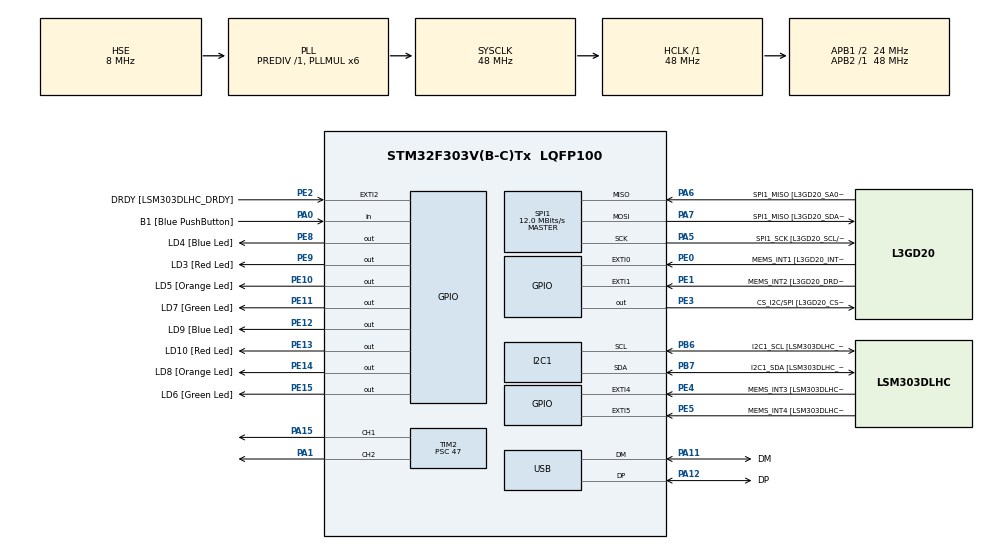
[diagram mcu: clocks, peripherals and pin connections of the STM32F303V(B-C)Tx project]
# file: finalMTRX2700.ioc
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I2C1.Timing=0x00201D2B
I2C1.Timing-I2C=0x2000090E
Mcu.Family=STM32F3
Mcu.Name=STM32F303V(B-C)Tx
Mcu.Package=LQFP100
NVIC.PriorityGroup=NVIC_PRIORITYGROUP_0
PA0.GPIO_Label=B1 [Blue PushButton]
PA0.Signal=GPIO_Input
PA1.Signal=S_TIM2_CH2
PA11.GPIO_Label=DM
PA11.Mode=Device
PA11.Signal=USB_DM
PA12.GPIO_Label=DP
PA12.Mode=Device
PA12.Signal=USB_DP
PA13.GPIO_Label=SWDIO
PA13.Mode=Serial_Wire
PA13.Signal=SYS_JTMS-SWDIO
PA14.GPIO_Label=SWCLK
PA14.Mode=Serial_Wire
PA14.Signal=SYS_JTCK-SWCLK
PA15.Signal=S_TIM2_CH1_ETR
PA5.GPIO_Label=SPI1_SCK [L3GD20_SCL/SPC]
PA5.Mode=Full_Duplex_Master
PA5.Signal=SPI1_SCK
PA6.GPIO_Label=SPI1_MISO [L3GD20_SA0/SDO]
PA6.Mode=Full_Duplex_Master
PA6.Signal=SPI1_MISO
PA7.GPIO_Label=SPI1_MISO [L3GD20_SDA/SDI/SDO]
PA7.Mode=Full_Duplex_Master
PA7.Signal=SPI1_MOSI
PB3.GPIO_Label=SWO
PB3.Signal=SYS_JTDO-TRACESWO
PB6.GPIO_Label=I2C1_SCL [LSM303DLHC_SCL]
PB6.GPIO_Pu=GPIO_PULLUP
PB6.Mode=I2C
PB6.Signal=I2C1_SCL
PB7.GPIO_Label=I2C1_SDA [LSM303DLHC_SDA]
PB7.GPIO_Pu=GPIO_PULLUP
PB7.Mode=I2C
PB7.Signal=I2C1_SDA
PC14-OSC32_IN.GPIO_Label=OSC32_IN
PC14-OSC32_IN.Signal=RCC_OSC32_IN
PC15-OSC32_OUT.GPIO_Label=OSC32_OUT
PC15-OSC32_OUT.Signal=RCC_OSC32_OUT
PE0.GPIO_Label=MEMS_INT1 [L3GD20_INT1]
PE0.GPIO_ModeDefaultEXTI=GPIO_MODE_EVT_RISING
PE0.Signal=GPXTI0
PE1.GPIO_Label=MEMS_INT2 [L3GD20_DRDY/INT2]
PE1.GPIO_ModeDefaultEXTI=GPIO_MODE_EVT_RISING
PE1.Signal=GPXTI1
PE10.GPIO_Label=LD5 [Orange Led]
PE10.Signal=GPIO_Output
PE11.GPIO_Label=LD7 [Green Led]
PE11.Signal=GPIO_Output
PE12.GPIO_Label=LD9 [Blue Led]
PE12.Signal=GPIO_Output
PE13.GPIO_Label=LD10 [Red Led]
PE13.Signal=GPIO_Output
PE14.GPIO_Label=LD8 [Orange Led]
PE14.Signal=GPIO_Output
PE15.GPIO_Label=LD6 [Green Led]
PE15.Signal=GPIO_Output
PE2.GPIO_Label=DRDY [LSM303DLHC_DRDY]
PE2.GPIO_ModeDefaultEXTI=GPIO_MODE_EVT_RISING
PE2.Signal=GPXTI2
PE3.GPIO_Label=CS_I2C/SPI [L3GD20_CS_I2C/SPI]
PE3.Signal=GPIO_Output
PE4.GPIO_Label=MEMS_INT3 [LSM303DLHC_INT1]
PE4.GPIO_ModeDefaultEXTI=GPIO_MODE_EVT_RISING
PE4.Signal=GPXTI4
PE5.GPIO_Label=MEMS_INT4 [LSM303DLHC_INT2]
PE5.GPIO_ModeDefaultEXTI=GPIO_MODE_EVT_RISING
PE5.Signal=GPXTI5
PE8.GPIO_Label=LD4 [Blue Led]
PE8.Signal=GPIO_Output
PE9.GPIO_Label=LD3 [Red Led]
PE9.Signal=GPIO_Output
PF0-OSC_IN.GPIO_Label=OSC_IN
PF0-OSC_IN.Mode=HSE-External-Clock-Source
PF0-OSC_IN.Signal=RCC_OSC_IN
PF1-OSC_OUT.GPIO_Label=OSC_OUT
PF1-OSC_OUT.Signal=RCC_OSC_OUT
ProjectManager.HeapSize=0x200
ProjectManager.StackSize=0x400
ProjectManager.TargetToolchain=STM32CubeIDE
RCC.AHBFreq_Value=48000000
RCC.APB1CLKDivider=RCC_HCLK_DIV2
RCC.APB1Freq_Value=24000000
RCC.APB1TimFreq_Value=48000000
RCC.APB2Freq_Value=48000000
RCC.APB2TimFreq_Value=48000000
RCC.CortexFreq_Value=48000000
RCC.HCLKFreq_Value=48000000
RCC.HSE_VALUE=8000000
RCC.HSI_VALUE=8000000
RCC.LSE_VALUE=32768
RCC.PLLMUL=RCC_PLL_MUL6
RCC.SYSCLKFreq_VALUE=48000000
RCC.SYSCLKSourceVirtual=RCC_SYSCLKSOURCE_PLLCLK
RCC.USBFreq_Value=48000000
SH.S_TIM2_CH1_ETR.0=TIM2_CH1,PWM Generation1 CH1
SH.S_TIM2_CH2.0=TIM2_CH2,PWM Generation2 CH2
SPI1.BaudRatePrescaler=SPI_BAUDRATEPRESCALER_4
SPI1.BaudRatePrescaler-Full_Duplex_Master=SPI_BAUDRATEPRESCALER_2
SPI1.CLKPhase=SPI_PHASE_2EDGE
SPI1.CLKPolarity=SPI_POLARITY_HIGH
SPI1.CalculateBaudRate=12.0 MBits/s
SPI1.CalculateBaudRate-Full_Duplex_Master=24.0 MBits/s
SPI1.DataSize=SPI_DATASIZE_8BIT
SPI1.Direction=SPI_DIRECTION_2LINES
SPI1.Mode=SPI_MODE_MASTER
SPI1.Mode-Full_Duplex_Master=SPI_MODE_MASTER
SPI1.VirtualType=VM_MASTER
TIM2.Channel-PWM\ Generation1\ CH1=TIM_CHANNEL_1
TIM2.Channel-PWM\ Generation2\ CH2=TIM_CHANNEL_2
TIM2.Period=20000
TIM2.Prescaler=47
TIM2.Pulse-PWM\ Generation1\ CH1=0
TIM2.Pulse-PWM\ Generation2\ CH2=0
board=STM32F3DISCOVERY

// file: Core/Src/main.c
/* USER CODE BEGIN Header */
/**
  ******************************************************************************
  * @file           : main.c
  * @brief          : Main program body
  ******************************************************************************
  * @attention
  *
  * Copyright (c) 2025 STMicroelectronics.
  * All rights reserved.
  *
  * This software is licensed under terms that can be found in the LICENSE file
  * in the root directory of this software component.
  * If no LICENSE file comes with this software, it is provided AS-IS.
  *
  ******************************************************************************
  */
/* USER CODE END Header */
#include "main.h"

I2C_HandleTypeDef hi2c1;

SPI_HandleTypeDef hspi1;

TIM_HandleTypeDef htim2;

PCD_HandleTypeDef hpcd_USB_FS;

void SystemClock_Config(void);
static void MX_GPIO_Init(void);
static void MX_I2C1_Init(void);
static void MX_SPI1_Init(void);
static void MX_USB_PCD_Init(void);
static void MX_TIM2_Init(void);
/* USER CODE BEGIN PFP */
void PERIPHERAL_CLOCKS_Init(void); // Enable all peripheral clocks (simplify code)
// void EXTI1_Init(void); // Enable interrupts for user push button
void EXTI0_Init(void); // Enable interrupts for user push button
void TIM3_Init(void); // Enable timer interrupts
void TIM4_Init(void); // Enable timer interrupts
void LED_Init(void); // Enable board LED output
void EXTI1_Init(void); // Enable interrupts for external comms
void EXTI4_Init(void); // Enable interrupts for external comms

/* USER CODE END PFP */

int main(void)
{

  /* MCU Configuration--------------------------------------------------------*/

  /* Reset of all peripherals, Initializes the Flash interface and the Systick. */
  HAL_Init();

  /* Configure the system clock */
  SystemClock_Config();

  /* Initialize all configured peripherals */
  MX_GPIO_Init();
  MX_I2C1_Init();
  MX_SPI1_Init();
  MX_USB_PCD_Init();
  MX_TIM2_Init();
  /* USER CODE BEGIN 2 */

  // Call user-defined initialisation functions
  PERIPHERAL_CLOCKS_Init(); // Start all peripheral clocks
  EXTI0_Init(); // Enable interrupts for EXTI0 line
  EXTI1_Init(); // Enable interrupts for EXTI1 Line
  EXTI4_Init(); // Enable interrupts for EXTI4 Line
  TIM3_Init(); // Enable timer interrupts
  TIM4_Init(); // Enable timer interrupts
  LED_Init(); // Enable LEDs

  SerialInitialise(BAUD_115200, &USART1_PORT, &finishedTransmissionCallback, &finishedTransmissionCallback); // Initialise UART

  /* USER CODE END 2 */

  /* Infinite loop */
  /* USER CODE BEGIN WHILE */

  HAL_TIM_PWM_Start(&htim2, TIM_CHANNEL_1);
  HAL_TIM_PWM_Start(&htim2, TIM_CHANNEL_2);
  HAL_TIM_PWM_Start(&htim2, TIM_CHANNEL_3);

  // Enable PWM for timer 8 + set initial servo angle
  setupGPIOPinsTim8();
  setupTim8Pwm();
  servoAngle(3, 140); // Set initial servo position
  servoAngle(2, 20); // Set initial servo position

  while (1)
  {

	  if (getLevelCompleteFlag() == 1) {
		  levelCompleteProcedure();

	  }
    /* USER CODE END WHILE */

  }
}

void SystemClock_Config(void)
{
  RCC_OscInitTypeDef RCC_OscInitStruct = {0};
  RCC_ClkInitTypeDef RCC_ClkInitStruct = {0};
  RCC_PeriphCLKInitTypeDef PeriphClkInit = {0};

  /** Initializes the RCC Oscillators according to the specified parameters
  * in the RCC_OscInitTypeDef structure.
  */
  RCC_OscInitStruct.OscillatorType = RCC_OSCILLATORTYPE_HSI|RCC_OSCILLATORTYPE_HSE;
  RCC_OscInitStruct.HSEState = RCC_HSE_BYPASS;
  RCC_OscInitStruct.HSEPredivValue = RCC_HSE_PREDIV_DIV1;
  RCC_OscInitStruct.HSIState = RCC_HSI_ON;
  RCC_OscInitStruct.HSICalibrationValue = RCC_HSICALIBRATION_DEFAULT;
  RCC_OscInitStruct.PLL.PLLState = RCC_PLL_ON;
  RCC_OscInitStruct.PLL.PLLSource = RCC_PLLSOURCE_HSE;
  RCC_OscInitStruct.PLL.PLLMUL = RCC_PLL_MUL6;
  if (HAL_RCC_OscConfig(&RCC_OscInitStruct) != HAL_OK)
  {
    Error_Handler();
  }

  /** Initializes the CPU, AHB and APB buses clocks
  */
  RCC_ClkInitStruct.ClockType = RCC_CLOCKTYPE_HCLK|RCC_CLOCKTYPE_SYSCLK
                              |RCC_CLOCKTYPE_PCLK1|RCC_CLOCKTYPE_PCLK2;
  RCC_ClkInitStruct.SYSCLKSource = RCC_SYSCLKSOURCE_PLLCLK;
  RCC_ClkInitStruct.AHBCLKDivider = RCC_SYSCLK_DIV1;
  RCC_ClkInitStruct.APB1CLKDivider = RCC_HCLK_DIV2;
  RCC_ClkInitStruct.APB2CLKDivider = RCC_HCLK_DIV1;

  if (HAL_RCC_ClockConfig(&RCC_ClkInitStruct, FLASH_LATENCY_1) != HAL_OK)
  {
    Error_Handler();
  }
  PeriphClkInit.PeriphClockSelection = RCC_PERIPHCLK_USB|RCC_PERIPHCLK_I2C1;
  PeriphClkInit.I2c1ClockSelection = RCC_I2C1CLKSOURCE_HSI;
  PeriphClkInit.USBClockSelection = RCC_USBCLKSOURCE_PLL;
  if (HAL_RCCEx_PeriphCLKConfig(&PeriphClkInit) != HAL_OK)
  {
    Error_Handler();
  }
}

static void MX_I2C1_Init(void)
{

  hi2c1.Instance = I2C1;
  hi2c1.Init.Timing = 0x00201D2B;
  hi2c1.Init.OwnAddress1 = 0;
  hi2c1.Init.AddressingMode = I2C_ADDRESSINGMODE_7BIT;
  hi2c1.Init.DualAddressMode = I2C_DUALADDRESS_DISABLE;
  hi2c1.Init.OwnAddress2 = 0;
  hi2c1.Init.OwnAddress2Masks = I2C_OA2_NOMASK;
  hi2c1.Init.GeneralCallMode = I2C_GENERALCALL_DISABLE;
  hi2c1.Init.NoStretchMode = I2C_NOSTRETCH_DISABLE;
  if (HAL_I2C_Init(&hi2c1) != HAL_OK)
  {
    Error_Handler();
  }

  /** Configure Analogue filter
  */
  if (HAL_I2CEx_ConfigAnalogFilter(&hi2c1, I2C_ANALOGFILTER_ENABLE) != HAL_OK)
  {
    Error_Handler();
  }

  /** Configure Digital filter
  */
  if (HAL_I2CEx_ConfigDigitalFilter(&hi2c1, 0) != HAL_OK)
  {
    Error_Handler();
  }

}

static void MX_SPI1_Init(void)
{

  /* SPI1 parameter configuration*/
  hspi1.Instance = SPI1;
  hspi1.Init.Mode = SPI_MODE_MASTER;
  hspi1.Init.Direction = SPI_DIRECTION_2LINES;
  hspi1.Init.DataSize = SPI_DATASIZE_8BIT;
  hspi1.Init.CLKPolarity = SPI_POLARITY_HIGH;
  hspi1.Init.CLKPhase = SPI_PHASE_2EDGE;
  hspi1.Init.NSS = SPI_NSS_SOFT;
  hspi1.Init.BaudRatePrescaler = SPI_BAUDRATEPRESCALER_4;
  hspi1.Init.FirstBit = SPI_FIRSTBIT_MSB;
  hspi1.Init.TIMode = SPI_TIMODE_DISABLE;
  hspi1.Init.CRCCalculation = SPI_CRCCALCULATION_DISABLE;
  hspi1.Init.CRCPolynomial = 7;
  hspi1.Init.CRCLength = SPI_CRC_LENGTH_DATASIZE;
  hspi1.Init.NSSPMode = SPI_NSS_PULSE_DISABLE;
  if (HAL_SPI_Init(&hspi1) != HAL_OK)
  {
    Error_Handler();
  }

}

static void MX_TIM2_Init(void)
{

  TIM_MasterConfigTypeDef sMasterConfig = {0};
  TIM_OC_InitTypeDef sConfigOC = {0};

  htim2.Instance = TIM2;
  htim2.Init.Prescaler = 47;
  htim2.Init.CounterMode = TIM_COUNTERMODE_UP;
  htim2.Init.Period = 20000;
  htim2.Init.ClockDivision = TIM_CLOCKDIVISION_DIV1;
  htim2.Init.AutoReloadPreload = TIM_AUTORELOAD_PRELOAD_DISABLE;
  if (HAL_TIM_PWM_Init(&htim2) != HAL_OK)
  {
    Error_Handler();
  }
  sMasterConfig.MasterOutputTrigger = TIM_TRGO_RESET;
  sMasterConfig.MasterSlaveMode = TIM_MASTERSLAVEMODE_DISABLE;
  if (HAL_TIMEx_MasterConfigSynchronization(&htim2, &sMasterConfig) != HAL_OK)
  {
    Error_Handler();
  }
  sConfigOC.OCMode = TIM_OCMODE_PWM1;
  sConfigOC.Pulse = 0;
  sConfigOC.OCPolarity = TIM_OCPOLARITY_HIGH;
  sConfigOC.OCFastMode = TIM_OCFAST_DISABLE;
  if (HAL_TIM_PWM_ConfigChannel(&htim2, &sConfigOC, TIM_CHANNEL_1) != HAL_OK)
  {
    Error_Handler();
  }
  if (HAL_TIM_PWM_ConfigChannel(&htim2, &sConfigOC, TIM_CHANNEL_2) != HAL_OK)
  {
    Error_Handler();
  }
  HAL_TIM_MspPostInit(&htim2);

}

static void MX_USB_PCD_Init(void)
{

  hpcd_USB_FS.Instance = USB;
  hpcd_USB_FS.Init.dev_endpoints = 8;
  hpcd_USB_FS.Init.speed = PCD_SPEED_FULL;
  hpcd_USB_FS.Init.phy_itface = PCD_PHY_EMBEDDED;
  hpcd_USB_FS.Init.low_power_enable = DISABLE;
  hpcd_USB_FS.Init.battery_charging_enable = DISABLE;
  if (HAL_PCD_Init(&hpcd_USB_FS) != HAL_OK)
  {
    Error_Handler();
  }

}

static void MX_GPIO_Init(void)
{
  GPIO_InitTypeDef GPIO_InitStruct = {0};

  /* GPIO Ports Clock Enable */
  __HAL_RCC_GPIOE_CLK_ENABLE();
  __HAL_RCC_GPIOC_CLK_ENABLE();
  __HAL_RCC_GPIOF_CLK_ENABLE();
  __HAL_RCC_GPIOA_CLK_ENABLE();
  __HAL_RCC_GPIOB_CLK_ENABLE();

  /*Configure GPIO pin Output Level */
  HAL_GPIO_WritePin(GPIOE, CS_I2C_SPI_Pin|LD4_Pin|LD3_Pin|LD5_Pin
                          |LD7_Pin|LD9_Pin|LD10_Pin|LD8_Pin
                          |LD6_Pin, GPIO_PIN_RESET);

  /*Configure GPIO pins : DRDY_Pin MEMS_INT3_Pin MEMS_INT4_Pin MEMS_INT1_Pin
                           MEMS_INT2_Pin */
  GPIO_InitStruct.Pin = DRDY_Pin|MEMS_INT3_Pin|MEMS_INT4_Pin|MEMS_INT1_Pin
                          |MEMS_INT2_Pin;
  GPIO_InitStruct.Mode = GPIO_MODE_EVT_RISING;
  GPIO_InitStruct.Pull = GPIO_NOPULL;
  HAL_GPIO_Init(GPIOE, &GPIO_InitStruct);

  /*Configure GPIO pins : CS_I2C_SPI_Pin LD4_Pin LD3_Pin LD5_Pin
                           LD7_Pin LD9_Pin LD10_Pin LD8_Pin
                           LD6_Pin */
  GPIO_InitStruct.Pin = CS_I2C_SPI_Pin|LD4_Pin|LD3_Pin|LD5_Pin
                          |LD7_Pin|LD9_Pin|LD10_Pin|LD8_Pin
                          |LD6_Pin;
  GPIO_InitStruct.Mode = GPIO_MODE_OUTPUT_PP;
  GPIO_InitStruct.Pull = GPIO_NOPULL;
  GPIO_InitStruct.Speed = GPIO_SPEED_FREQ_LOW;
  HAL_GPIO_Init(GPIOE, &GPIO_InitStruct);

  /*Configure GPIO pin : B1_Pin */
  GPIO_InitStruct.Pin = B1_Pin;
  GPIO_InitStruct.Mode = GPIO_MODE_INPUT;
  GPIO_InitStruct.Pull = GPIO_NOPULL;
  HAL_GPIO_Init(B1_GPIO_Port, &GPIO_InitStruct);

}

/* USER CODE BEGIN 4 */

void PERIPHERAL_CLOCKS_Init(void) {
	// Enable all clocks for required GPIOs
	RCC->AHBENR |= RCC_AHBENR_GPIOAEN | RCC_AHBENR_GPIOBEN | RCC_AHBENR_GPIOCEN | RCC_AHBENR_GPIODEN | RCC_AHBENR_GPIOEEN;
}

void EXTI4_Init(void) {
    __disable_irq(); // Disable interrupts during setup

    // 1. Configure PB4 as input
    RCC->AHBENR |= RCC_AHBENR_GPIOBEN;            // Enable GPIOB clock
    GPIOB->MODER &= ~(0x3 << (4 * 2));            // Set PB4 mode to 00 (input)

    // 1a. Set PB4 pull-down
    GPIOB->PUPDR &= ~(0x3 << (4 * 2));            // Clear previous pull-up/down
    GPIOB->PUPDR |=  (0x2 << (4 * 2));            // Set pull-down (10)

    // 2. Enable SYSCFG clock
    RCC->APB2ENR |= RCC_APB2ENR_SYSCFGEN;

    // 3. Map EXTI4 to PB4
    SYSCFG->EXTICR[1] &= ~SYSCFG_EXTICR2_EXTI4;         // Clear EXTI4 bits
    SYSCFG->EXTICR[1] |= SYSCFG_EXTICR2_EXTI4_PB;       // Map EXTI4 to PB4

    // 4. Configure EXTI4
    EXTI->IMR  |= EXTI_IMR_MR4;     // Unmask EXTI4
    EXTI->RTSR |= EXTI_RTSR_TR4;    // Enable rising edge trigger

    // 5. Enable NVIC interrupt for EXTI4
    NVIC_EnableIRQ(EXTI4_IRQn);
    NVIC_SetPriority(EXTI4_IRQn, 4); // Optional: Set priority

    __enable_irq(); // Re-enable global interrupts
}

void EXTI1_Init(void) {
    __disable_irq(); // Disable interrupts during setup

    // 1. Configure PB1 as input
    RCC->AHBENR |= RCC_AHBENR_GPIOBEN;        // Enable GPIOB clock
    GPIOB->MODER &= ~(0x3 << (1 * 2));          // Set PB1 mode to 00 (input)

    // 1a. Set PB1 pull-down
    GPIOB->PUPDR &= ~(0x3 << (1 * 2));            // Clear previous pull-up/down
    GPIOB->PUPDR |=  (0x2 << (1 * 2));            // Set pull-down (10)

    // 2. Enable SYSCFG clock
    RCC->APB2ENR |= RCC_APB2ENR_SYSCFGEN;

    // 3. Map EXTI1 to PB1
    SYSCFG->EXTICR[0] &= ~SYSCFG_EXTICR1_EXTI1;         // Clear EXTI1 bits
    SYSCFG->EXTICR[0] |= SYSCFG_EXTICR1_EXTI1_PB;       // Map EXTI1 to PB1

    // 4. Configure EXTI1
    EXTI->IMR  |= EXTI_IMR_MR1;     // Unmask EXTI1
    EXTI->RTSR |= EXTI_RTSR_TR1;    // Enable rising edge trigger

    // 5. Enable NVIC interrupt for EXTI1
    NVIC_EnableIRQ(EXTI1_IRQn);
    NVIC_SetPriority(EXTI1_IRQn, 2); // Optional: Set priority

    __enable_irq(); // Re-enable global interrupts
}

void EXTI0_Init(void) {
	__disable_irq(); // Disable interrupts during setup

	GPIOA->MODER &= ~0x3; // Set pin 0 mode to 00 (input)

	RCC->APB2ENR |= RCC_APB2ENR_SYSCFGEN; // Enable SYSCFG clock
	SYSCFG->EXTICR[0] &= ~SYSCFG_EXTICR1_EXTI0; // Clear EXTI0 mapping
	SYSCFG->EXTICR[0] |= SYSCFG_EXTICR1_EXTI0_PA; // Map EXTI0 to PA0

	EXTI->IMR |= EXTI_IMR_MR0; // Unmask EXTI0
	EXTI->RTSR |= EXTI_RTSR_TR0; // Trigger on rising edge (start timer)
	EXTI->FTSR |= EXTI_FTSR_TR0; // Trigger on falling edge (stop timer)

	NVIC_EnableIRQ(EXTI0_IRQn);    // For EXTI lines 0 and 1
	NVIC_SetPriority(EXTI0_IRQn, 2);  // Optional: Set lower priority

	EXTI->IMR &= ~EXTI_IMR_MR0; // Disable EXTI0 interrupt until received EXTI1 interrupt

	__enable_irq(); // Re-enable interrupts post-setup
}

void TIM3_Init(void) {
	__disable_irq(); // Disable interrupts during setup

	RCC->APB1ENR |= RCC_APB1ENR_TIM3EN; // Enable timer 3

	// Configure timer registers
	TIM3->PSC = 47999; // Prescaler of 1 ms for 48 MHz clock
	TIM3->ARR = 499; // Auto-reload after 500 ms for morse code application

    TIM3->EGR = TIM_EGR_UG; // Generate an update event (apply PSC + ARR)

    TIM3->DIER |= TIM_DIER_UIE; // Enable update interrupts

	NVIC_SetPriority(TIM3_IRQn, 1); // Set interrupt priority to 1
	NVIC_EnableIRQ(TIM3_IRQn);     // Enable Timer 3 interrupt

	__enable_irq(); // Re-enable interrupts post-setup
}

void TIM4_Init(void) {
    // Enable TIM4 peripheral clock
    RCC->APB1ENR |= RCC_APB1ENR_TIM4EN;

    // Configure prescaler so 1 tick = 1 ms (assuming 48 MHz system clock)
    TIM4->PSC = 47999;   // (48,000,000 / (47999 + 1)) = 1000 Hz = 1 ms per tick

    // Set auto-reload to maximum (for longer delays)
    TIM4->ARR = 0xFFFFFFFF;

    TIM4->EGR = TIM_EGR_UG; // Generate an update event (apply PSC + ARR)

    // Just in case: make sure counter is off
    TIM4->CR1 = 0;
}

void LED_Init(void) {

	// Initialise pointer to higher half-word of MODE register in GPIOE
    uint16_t *led_output_registers = ((uint16_t *)&(GPIOE->MODER)) + 1;

    *led_output_registers = 0x5555; // Output mode 0b01 for each port
}

/* USER CODE END 4 */

void Error_Handler(void)
{
  __disable_irq();
  while (1)
  {
  }
}
